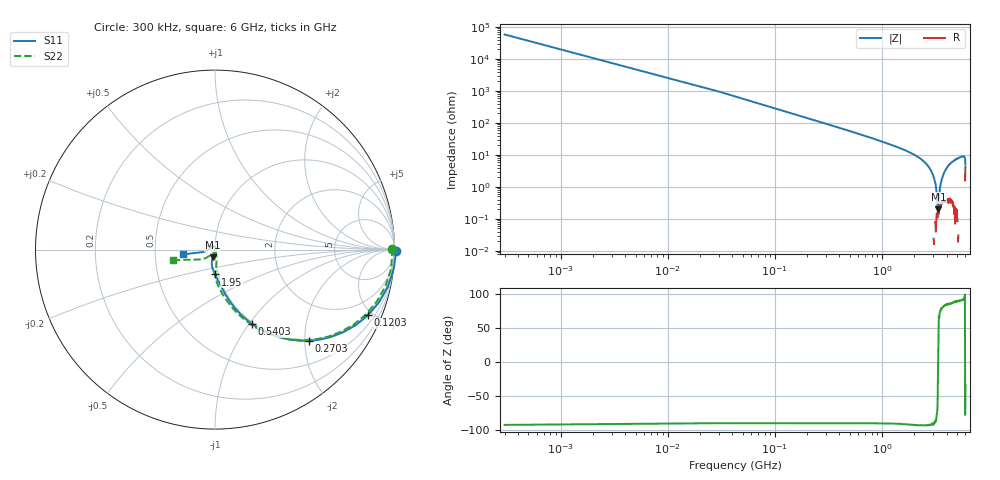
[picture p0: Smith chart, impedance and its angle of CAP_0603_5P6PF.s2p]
# Hz S RI R 50
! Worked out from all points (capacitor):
!   201 points, 300 kHz to 6 GHz, reference 50 ohm
!   read as one part in series: C = 5.56 pF near 30.3 MHz
!   lowest |Z| = 197 mohm at 3.36 GHz (marker M1)
!   series resonance near 3.341 GHz, so ESL is about 410 pH
!   S11 on the Smith chart (normalised r, x): 300 kHz: open; 120.3 MHz: 0.89, -4.71; 270.3 MHz: 0.96, -2.09; 540.3 MHz: 0.98, -1.03; 1.95 GHz: 0.96, -0.27; 6 GHz: 0.70, -0.04
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300000  1.01 -0.00864  -7.57e-05 0.00171  -0.000828 0.000416  0.9879 0.00432
3.02985e7  0.9956 -0.1074  0.0111 0.1045  0.0112 0.1046  0.9818 -0.106
1.20294e8  0.8528 -0.3658  0.1516 0.3565  0.1517 0.3564  0.8398 -0.3624
2.702865e8  0.5214 -0.5085  0.4776 0.4932  0.4775 0.4937  0.5101 -0.5047
5.40273e8  0.2066 -0.4147  0.789 0.3978  0.7889 0.3974  0.1946 -0.4119
1.020249e9  0.0615 -0.2549  0.9351 0.2251  0.9348 0.2245  0.0452 -0.2534
1.950202e9  0.000591 -0.1383  0.9885 0.0711  0.9877 0.0715  0.00149 -0.139
2.0102e9  -0.000616 -0.1341  0.9908 0.0646  0.9904 0.065  0.00213 -0.1352
3.00015e9  -0.0176 -0.0652  0.9951 -0.0244  0.998 -0.0214  0.00851 -0.0706
3.360132e9  -0.0128 -0.0434  0.9927 -0.0441  0.9963 -0.0485  0.00895 -0.0457
4.020099e9  0.000796 -0.0105  0.9911 -0.0857  0.9934 -0.0853  0.00328 -0.00678
4.170092e9  0.00239 -0.00429  0.9904 -0.096  0.9889 -0.0955  0.00212 3.59e-05
4.500075e9  0.00345 0.00468  0.9871 -0.1112  0.9896 -0.11  7.55e-06 0.00722
5.01005e9  -0.00212 0.0162  0.9849 -0.1403  0.9902 -0.1376  0.000743 0.00786
5.220039e9  -0.00537 0.0185  0.9831 -0.1503  0.9885 -0.1513  0.0013 0.00352
5.280036e9  -0.00733 0.0189  0.9788 -0.1486  0.9901 -0.1565  0.000522 0.00138
5.370032e9  -0.00923 0.0195  0.9773 -0.1547  0.9911 -0.1622  0.000727 -0.000754
5.40003e9  -0.00861 0.0184  0.9816 -0.1595  0.9866 -0.1658  0.00185 -0.00248
5.79001e9  -0.022 0.0101  0.9727 -0.1825  0.98 -0.1902  -0.012 -0.0234
5.940003e9  -0.0463 -0.00578  0.9642 -0.1852  0.9702 -0.1912  -0.0471 -0.0449
5.970002e9  -0.0627 -0.0133  -0.9517 0.1827  -0.9567 0.1947  -0.0715 -0.0547
6e9  -0.1757 -0.0264  -0.8805 0.0987  -0.8809 0.1064  -0.2329 -0.0588
